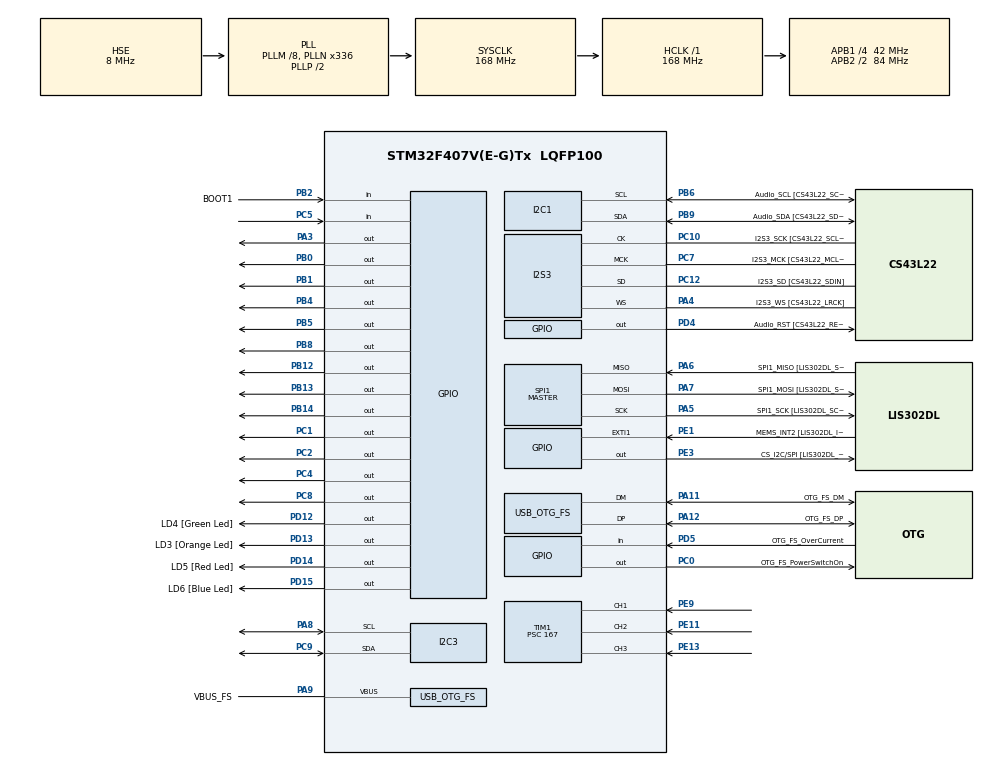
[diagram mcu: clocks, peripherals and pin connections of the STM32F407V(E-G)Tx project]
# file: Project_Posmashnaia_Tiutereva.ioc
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I2C3.OwnAddress=0x30
I2S3.AudioFreq-Half_Duplex_Master=I2S_AUDIOFREQ_96K
I2S3.ErrorAudioFreq=-2.34 %
I2S3.ErrorAudioFreq-Half_Duplex_Master=0.8 %
I2S3.FullDuplexMode=I2S_FULLDUPLEXMODE_DISABLE
I2S3.Instance=SPI$Index
I2S3.RealAudioFreq=93.75 KHz
I2S3.RealAudioFreq-Half_Duplex_Master=96.774 KHz
I2S3.VirtualMode=I2S_MODE_MASTER
Mcu.Family=STM32F4
Mcu.Name=STM32F407V(E-G)Tx
Mcu.Package=LQFP100
NVIC.I2C3_ER_IRQn=true\:0\:0\:false\:false\:true\:true\:true\:true
NVIC.I2C3_EV_IRQn=true\:0\:0\:false\:false\:true\:true\:true\:true
NVIC.OTG_FS_IRQn=true\:0\:0\:false\:false\:true\:true\:true\:true
NVIC.PriorityGroup=NVIC_PRIORITYGROUP_0
NVIC.TIM1_CC_IRQn=true\:0\:0\:false\:false\:true\:true\:true\:true
PA10.GPIO_Label=OTG_FS_ID
PA10.GPIO_Mode=GPIO_MODE_AF_PP
PA10.GPIO_PuPd=GPIO_NOPULL
PA10.GPIO_Speed=GPIO_SPEED_FREQ_LOW
PA10.Signal=USB_OTG_FS_ID
PA11.GPIO_Label=OTG_FS_DM
PA11.GPIO_Mode=GPIO_MODE_AF_PP
PA11.GPIO_PuPd=GPIO_NOPULL
PA11.GPIO_Speed=GPIO_SPEED_FREQ_LOW
PA11.Mode=Host_Only
PA11.Signal=USB_OTG_FS_DM
PA12.GPIO_Label=OTG_FS_DP
PA12.GPIO_Mode=GPIO_MODE_AF_PP
PA12.GPIO_PuPd=GPIO_NOPULL
PA12.GPIO_Speed=GPIO_SPEED_FREQ_LOW
PA12.Mode=Host_Only
PA12.Signal=USB_OTG_FS_DP
PA13.GPIO_Label=SWDIO
PA13.Mode=Serial_Wire
PA13.Signal=SYS_JTMS-SWDIO
PA14.GPIO_Label=SWCLK
PA14.Mode=Serial_Wire
PA14.Signal=SYS_JTCK-SWCLK
PA3.Signal=GPIO_Output
PA4.GPIO_Label=I2S3_WS [CS43L22_LRCK]
PA4.GPIO_Mode=GPIO_MODE_AF_PP
PA4.GPIO_PuPd=GPIO_NOPULL
PA4.GPIO_Speed=GPIO_SPEED_FREQ_LOW
PA4.Mode=Half_Duplex_Master
PA4.Signal=I2S3_WS
PA5.GPIO_Label=SPI1_SCK [LIS302DL_SCL/SPC]
PA5.GPIO_Mode=GPIO_MODE_AF_PP
PA5.GPIO_PuPd=GPIO_NOPULL
PA5.GPIO_Speed=GPIO_SPEED_FREQ_LOW
PA5.Mode=Full_Duplex_Master
PA5.Signal=SPI1_SCK
PA6.GPIO_Label=SPI1_MISO [LIS302DL_SDO]
PA6.GPIO_Mode=GPIO_MODE_AF_PP
PA6.GPIO_PuPd=GPIO_NOPULL
PA6.GPIO_Speed=GPIO_SPEED_FREQ_LOW
PA6.Mode=Full_Duplex_Master
PA6.Signal=SPI1_MISO
PA7.GPIO_Label=SPI1_MOSI [LIS302DL_SDA/SDI/SDO]
PA7.GPIO_Mode=GPIO_MODE_AF_PP
PA7.GPIO_PuPd=GPIO_NOPULL
PA7.GPIO_Speed=GPIO_SPEED_FREQ_LOW
PA7.Mode=Full_Duplex_Master
PA7.Signal=SPI1_MOSI
PA8.GPIO_Pu=GPIO_PULLUP
PA8.Mode=I2C
PA8.Signal=I2C3_SCL
PA9.GPIO_Label=VBUS_FS
PA9.GPIO_Mode=GPIO_MODE_INPUT
PA9.GPIO_PuPd=GPIO_NOPULL
PA9.Mode=Activate_VBUS
PA9.Signal=USB_OTG_FS_VBUS
PB0.Signal=GPIO_Output
PB1.Signal=GPIO_Output
PB10.GPIO_Label=CLK_IN [MP45DT02_CLK]
PB10.GPIO_Mode=GPIO_MODE_AF_PP
PB10.GPIO_PuPd=GPIO_NOPULL
PB10.GPIO_Speed=GPIO_SPEED_FREQ_LOW
PB10.Signal=I2S2_CK
PB12.Signal=GPIO_Output
PB13.Signal=GPIO_Output
PB14.Signal=GPIO_Output
PB2.GPIO_Label=BOOT1
PB2.GPIO_Mode=GPIO_MODE_INPUT
PB2.GPIO_PuPd=GPIO_NOPULL
PB2.Signal=GPIO_Input
PB3.GPIO_Label=SWO
PB3.Signal=SYS_JTDO-SWO
PB4.Signal=GPIO_Output
PB5.Signal=GPIO_Output
PB6.GPIO_Label=Audio_SCL [CS43L22_SCL]
PB6.GPIO_Mode=GPIO_MODE_AF_OD
PB6.GPIO_Pu=GPIO_PULLUP
PB6.GPIO_PuPd=GPIO_NOPULL
PB6.GPIO_Speed=GPIO_SPEED_FREQ_LOW
PB6.Mode=I2C
PB6.Signal=I2C1_SCL
PB8.Signal=GPIO_Output
PB9.GPIO_Label=Audio_SDA [CS43L22_SDA]
PB9.GPIO_Mode=GPIO_MODE_AF_OD
PB9.GPIO_Pu=GPIO_PULLUP
PB9.GPIO_PuPd=GPIO_NOPULL
PB9.GPIO_Speed=GPIO_SPEED_FREQ_LOW
PB9.Mode=I2C
PB9.Signal=I2C1_SDA
PC0.GPIO_Label=OTG_FS_PowerSwitchOn
PC0.GPIO_PuPd=GPIO_NOPULL
PC0.GPIO_Speed=GPIO_SPEED_FREQ_LOW
PC0.PinState=GPIO_PIN_SET
PC0.Signal=GPIO_Output
PC1.Signal=GPIO_Output
PC10.GPIO_Label=I2S3_SCK [CS43L22_SCLK]
PC10.GPIO_Mode=GPIO_MODE_AF_PP
PC10.GPIO_PuPd=GPIO_NOPULL
PC10.GPIO_Speed=GPIO_SPEED_FREQ_LOW
PC10.Mode=Half_Duplex_Master
PC10.Signal=I2S3_CK
PC12.GPIO_Label=I2S3_SD [CS43L22_SDIN]
PC12.GPIO_Mode=GPIO_MODE_AF_PP
PC12.GPIO_PuPd=GPIO_NOPULL
PC12.GPIO_Speed=GPIO_SPEED_FREQ_LOW
PC12.Mode=Half_Duplex_Master
PC12.Signal=I2S3_SD
PC14-OSC32_IN.GPIO_Label=PC14-OSC32_IN
PC14-OSC32_IN.Mode=LSE-External-Oscillator
PC14-OSC32_IN.Signal=RCC_OSC32_IN
PC15-OSC32_OUT.GPIO_Label=PC15-OSC32_OUT
PC15-OSC32_OUT.Mode=LSE-External-Oscillator
PC15-OSC32_OUT.Signal=RCC_OSC32_OUT
PC2.Signal=GPIO_Output
PC3.GPIO_Label=PDM_OUT [MP45DT02_DOUT]
PC3.GPIO_Mode=GPIO_MODE_AF_PP
PC3.GPIO_PuPd=GPIO_NOPULL
PC3.GPIO_Speed=GPIO_SPEED_FREQ_LOW
PC3.Signal=I2S2_SD
PC4.Signal=GPIO_Output
PC5.Signal=GPIO_Input
PC7.GPIO_Label=I2S3_MCK [CS43L22_MCLK]
PC7.GPIO_Mode=GPIO_MODE_AF_PP
PC7.GPIO_PuPd=GPIO_NOPULL
PC7.GPIO_Speed=GPIO_SPEED_FREQ_LOW
PC7.Mode=Master_Clock_Activated
PC7.Signal=I2S3_MCK
PC8.Signal=GPIO_Output
PC9.GPIO_Pu=GPIO_PULLUP
PC9.Mode=I2C
PC9.Signal=I2C3_SDA
PD12.GPIO_Label=LD4 [Green Led]
PD12.GPIO_PuPd=GPIO_NOPULL
PD12.GPIO_Speed=GPIO_SPEED_FREQ_LOW
PD12.Signal=GPIO_Output
PD13.GPIO_Label=LD3 [Orange Led]
PD13.GPIO_PuPd=GPIO_NOPULL
PD13.GPIO_Speed=GPIO_SPEED_FREQ_LOW
PD13.Signal=GPIO_Output
PD14.GPIO_Label=LD5 [Red Led]
PD14.GPIO_PuPd=GPIO_NOPULL
PD14.GPIO_Speed=GPIO_SPEED_FREQ_LOW
PD14.Signal=GPIO_Output
PD15.GPIO_Label=LD6 [Blue Led]
PD15.GPIO_PuPd=GPIO_NOPULL
PD15.GPIO_Speed=GPIO_SPEED_FREQ_LOW
PD15.Signal=GPIO_Output
PD4.GPIO_Label=Audio_RST [CS43L22_RESET]
PD4.GPIO_PuPd=GPIO_NOPULL
PD4.GPIO_Speed=GPIO_SPEED_FREQ_LOW
PD4.Signal=GPIO_Output
PD5.GPIO_Label=OTG_FS_OverCurrent
PD5.GPIO_Mode=GPIO_MODE_INPUT
PD5.GPIO_PuPd=GPIO_NOPULL
PD5.Signal=GPIO_Input
PE1.GPIO_Label=MEMS_INT2 [LIS302DL_INT2]
PE1.GPIO_ModeDefaultEXTI=GPIO_MODE_EVT_RISING
PE1.GPIO_PuPd=GPIO_NOPULL
PE1.Signal=GPXTI1
PE11.Signal=S_TIM1_CH2
PE13.Signal=S_TIM1_CH3
PE3.GPIO_Label=CS_I2C/SPI [LIS302DL_CS_I2C/SPI]
PE3.GPIO_PuPd=GPIO_NOPULL
PE3.GPIO_Speed=GPIO_SPEED_FREQ_LOW
PE3.Signal=GPIO_Output
PE9.Signal=S_TIM1_CH1
PH0-OSC_IN.GPIO_Label=PH0-OSC_IN
PH0-OSC_IN.Mode=HSE-External-Oscillator
PH0-OSC_IN.Signal=RCC_OSC_IN
PH1-OSC_OUT.GPIO_Label=PH1-OSC_OUT
PH1-OSC_OUT.Mode=HSE-External-Oscillator
PH1-OSC_OUT.Signal=RCC_OSC_OUT
ProjectManager.HeapSize=0x200
ProjectManager.StackSize=0x400
ProjectManager.TargetToolchain=STM32CubeIDE
RCC.48MHZClocksFreq_Value=48000000
RCC.AHBFreq_Value=168000000
RCC.APB1CLKDivider=RCC_HCLK_DIV4
RCC.APB1Freq_Value=42000000
RCC.APB1TimFreq_Value=84000000
RCC.APB2CLKDivider=RCC_HCLK_DIV2
RCC.APB2Freq_Value=84000000
RCC.APB2TimFreq_Value=168000000
RCC.CortexFreq_Value=168000000
RCC.HCLKFreq_Value=168000000
RCC.HSE_VALUE=8000000
RCC.HSI_VALUE=16000000
RCC.PLLM=8
RCC.PLLN=336
RCC.PLLQ=7
RCC.SYSCLKFreq_VALUE=168000000
RCC.SYSCLKSource=RCC_SYSCLKSOURCE_PLLCLK
RCC.VCOOutputFreq_Value=336000000
SH.S_TIM1_CH1.0=TIM1_CH1,Input_Capture1_from_TI1
SH.S_TIM1_CH2.0=TIM1_CH2,Input_Capture2_from_TI2
SH.S_TIM1_CH3.0=TIM1_CH3,Input_Capture3_from_TI3
SPI1.BaudRatePrescaler-Full_Duplex_Master=SPI_BAUDRATEPRESCALER_2
SPI1.CalculateBaudRate-Full_Duplex_Master=42.0 MBits/s
SPI1.Direction=SPI_DIRECTION_2LINES
SPI1.Mode=SPI_MODE_MASTER
SPI1.Mode-Full_Duplex_Master=SPI_MODE_MASTER
SPI1.VirtualType=VM_MASTER
TIM1.Channel-Input_Capture1_from_TI1=TIM_CHANNEL_1
TIM1.Channel-Input_Capture2_from_TI2=TIM_CHANNEL_2
TIM1.Channel-Input_Capture3_from_TI3=TIM_CHANNEL_3
TIM1.Prescaler=167
USB_HOST.BSP.number=1
USB_HOST.USBH_HandleTypeDef-CDC_FS=hUsbHostFS
USB_HOST.VirtualModeFS=Cdc
USB_HOST0.BSP.STBoard=false
USB_HOST0.BSP.api=Unknown
USB_HOST0.BSP.instance=PC0
USB_HOST0.BSP.ip=GPIO
USB_HOST0.BSP.mode=Output
USB_HOST0.BSP.name=Drive_VBUS_FS
USB_HOST0.BSP.solution=PC0
USB_OTG_FS.VirtualMode=Host_Only
USB_OTG_FS.phy_itface=HCD_PHY_EMBEDDED
VP_TIM2_VS_ClockSourceINT.Mode=Internal
VP_USB_HOST_VS_USB_HOST_CDC_FS.Mode=CDC_FS
board=STM32F407G-DISC1

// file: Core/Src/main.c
/* USER CODE BEGIN Header */
/**
  ******************************************************************************
  * @file           : main.c
  * @brief          : Main program body
  ******************************************************************************
  * @attention
  *
  * Copyright (c) 2025 STMicroelectronics.
  * All rights reserved.
  *
  * This software is licensed under terms that can be found in the LICENSE file
  * in the root directory of this software component.
  * If no LICENSE file comes with this software, it is provided AS-IS.
  *
  ******************************************************************************
  */
/* USER CODE END Header */
#include "main.h"
#include "usb_host.h"

I2C_HandleTypeDef hi2c1;
I2C_HandleTypeDef hi2c3;

I2S_HandleTypeDef hi2s3;

SPI_HandleTypeDef hspi1;

TIM_HandleTypeDef htim1;
TIM_HandleTypeDef htim2;

/* USER CODE BEGIN PV */
// === Піни ===
#define TRIG1_PORT GPIOA
#define TRIG1_PIN GPIO_PIN_3
#define LED1_G_PORT GPIOB
#define LED1_G_PIN GPIO_PIN_0
#define LED1_R_PORT GPIOB
#define LED1_R_PIN GPIO_PIN_12

#define TRIG2_PORT GPIOB
#define TRIG2_PIN GPIO_PIN_1
#define LED2_G_PORT GPIOB
#define LED2_G_PIN GPIO_PIN_4
#define LED2_R_PORT GPIOB
#define LED2_R_PIN GPIO_PIN_5

#define TRIG3_PORT GPIOC
#define TRIG3_PIN GPIO_PIN_8
#define LED3_G_PORT GPIOB
#define LED3_G_PIN GPIO_PIN_13
#define LED3_R_PORT GPIOB
#define LED3_R_PIN GPIO_PIN_14

volatile uint32_t IC_First[3] = {0};
volatile uint32_t IC_Second[3] = {0};
volatile uint32_t Pulse_Width[3] = {0};
volatile uint8_t Captured[3] = {0};

// Нова змінна для підтвердження, що вимірювання завершено
volatile uint8_t Measurement_Done[3] = {0};

uint8_t free_spots = 0;
/* USER CODE END PV */

void SystemClock_Config(void);
static void MX_GPIO_Init(void);
static void MX_I2C1_Init(void);
static void MX_I2S3_Init(void);
static void MX_SPI1_Init(void);
static void MX_TIM2_Init(void);
static void MX_TIM1_Init(void);
static void MX_I2C3_Init(void);
void MX_USB_HOST_Process(void);

/* USER CODE BEGIN PFP */
float Measure_Distance(uint8_t sensor);
void delay_us(uint32_t us);
/* USER CODE END PFP */

/* USER CODE BEGIN 0 */

void HAL_TIM_IC_CaptureCallback(TIM_HandleTypeDef *htim)
{

    uint8_t ch = 0;
    uint32_t channel_constant = 0; // <--- ЦЯ ЗМІННА ОБОВ'ЯЗКОВА

    // Визначаємо індекс масиву ТА константу каналу
    if(htim->Channel == HAL_TIM_ACTIVE_CHANNEL_1) {
        ch = 0;
        channel_constant = TIM_CHANNEL_1; // <--- ВАЖЛИВО
    }
    else if(htim->Channel == HAL_TIM_ACTIVE_CHANNEL_2) {
        ch = 1;
        channel_constant = TIM_CHANNEL_2; // <--- ВАЖЛИВО
    }
    else if(htim->Channel == HAL_TIM_ACTIVE_CHANNEL_3) {
        ch = 2;
        channel_constant = TIM_CHANNEL_3; // <--- ВАЖЛИВО
    }
    else return;

    if(Captured[ch] == 0) // (1) Початок імпульсу
    {
        // Використовуємо channel_constant!
        IC_First[ch] = HAL_TIM_ReadCapturedValue(htim, channel_constant);
        Captured[ch] = 1;
        // Використовуємо channel_constant!
        __HAL_TIM_SET_CAPTUREPOLARITY(htim, channel_constant, TIM_INPUTCHANNELPOLARITY_FALLING);
    }
    else // (2) Кінець імпульсу
    {
        // Використовуємо channel_constant!
        IC_Second[ch] = HAL_TIM_ReadCapturedValue(htim, channel_constant);

        if(IC_Second[ch] >= IC_First[ch])
            Pulse_Width[ch] = IC_Second[ch] - IC_First[ch];
        else
            Pulse_Width[ch] = (0xFFFF - IC_First[ch] + IC_Second[ch]);

        Captured[ch] = 0;
        Measurement_Done[ch] = 1;

        // Використовуємо channel_constant!
        __HAL_TIM_SET_CAPTUREPOLARITY(htim, channel_constant, TIM_INPUTCHANNELPOLARITY_RISING);
    }
}

float Measure_Distance(uint8_t sensor)
{
    GPIO_TypeDef* port;
    uint16_t pin;

    // Оголошення змінних (ЗБЕРІГАЄМО)
    uint32_t start_time = HAL_GetTick(); // Для таймауту в мс
    uint32_t timeout_ms = 40;            // Максимальний час очікування

    TIM_HandleTypeDef* htim = &htim1; // Посилання на ваш таймер
    uint32_t channel;

    // ... (Визначення port, pin, channel)
    if(sensor == 0)      { port = TRIG1_PORT; pin = TRIG1_PIN; channel = TIM_CHANNEL_1; }
    else if(sensor == 1) { port = TRIG2_PORT; pin = TRIG2_PIN; channel = TIM_CHANNEL_2; }
    else                 { port = TRIG3_PORT; pin = TRIG3_PIN; channel = TIM_CHANNEL_3; }

    // 0. ЗУПИНЯЄМО ТА СКИДАЄМО ПРАПОРИ ПЕРЕД ПОЧАТКОМ
    HAL_TIM_IC_Stop_IT(htim, channel); // Зупиняємо переривання на цьому каналі

    // 1. Скидаємо прапори перед ініціацією
    Measurement_Done[sensor] = 0;
    Captured[sensor] = 0;
    Pulse_Width[sensor] = 0;

    // Скидаємо полярність на RISING
    __HAL_TIM_SET_CAPTUREPOLARITY(htim, channel, TIM_INPUTCHANNELPOLARITY_RISING);

    // ОНОВЛЮЄМО ЧАС ПОЧАТКУ (ВИДАЛИТИ `uint32_t`)
    start_time = HAL_GetTick();

    // 2. Ініціація імпульсу TRIG
    HAL_GPIO_WritePin(port, pin, GPIO_PIN_SET);
    delay_us(15);
    HAL_GPIO_WritePin(port, pin, GPIO_PIN_RESET);

    // 3. ЗАПУСКАЄМО ПЕРЕРИВАННЯ, ЩОБ ВОНО СЛУХАЛО
    HAL_TIM_IC_Start_IT(htim, channel);

    // 4. Очікування завершення вимірювання ECHO в перериванні
    // ВИКОРИСТОВУЄМО ІСНУЮЧУ timeout_ms (ВИДАЛИТИ `uint32_t`)
    while (Measurement_Done[sensor] == 0 && (HAL_GetTick() - start_time) < timeout_ms)
    {
        // Чекаємо
    }

    // 5. Обов'язково зупиняємо переривання після завершення (або таймауту)
    HAL_TIM_IC_Stop_IT(htim, channel);

    // 6. Перевірка результату та таймауту
    if (Measurement_Done[sensor] == 0 || Pulse_Width[sensor] == 0)
    {
        return 400.0f;
    }

    // 7. Розрахунок відстані
    return (float)Pulse_Width[sensor] * 0.017f;
}

/* USER CODE END 0 */

int main(void)
{

  /* MCU Configuration--------------------------------------------------------*/

  /* Reset of all peripherals, Initializes the Flash interface and the Systick. */
  HAL_Init();

  /* USER CODE BEGIN Init */
  // Включаємо DWT (для точної microsecond delay)
    CoreDebug->DEMCR |= CoreDebug_DEMCR_TRCENA_Msk;
    DWT->CYCCNT = 0;
    DWT->CTRL |= DWT_CTRL_CYCCNTENA_Msk;
  /* USER CODE END Init */

  /* Configure the system clock */
  SystemClock_Config();

  /* Initialize all configured peripherals */
  MX_GPIO_Init();
  MX_I2C1_Init();
  MX_I2S3_Init();
  MX_SPI1_Init();
  MX_USB_HOST_Init();
  MX_TIM2_Init();
  MX_TIM1_Init();
  MX_I2C3_Init();
  /* USER CODE BEGIN 2 */

/*  HAL_TIM_IC_Start_IT(&htim1, TIM_CHANNEL_1);
  HAL_TIM_IC_Start_IT(&htim1, TIM_CHANNEL_2);
  HAL_TIM_IC_Start_IT(&htim1, TIM_CHANNEL_3); */

  HAL_I2C_Slave_Transmit_IT(&hi2c3, &free_spots, 1);
  /* USER CODE END 2 */

  /* Infinite loop */
  /* USER CODE BEGIN WHILE */
  while (1)
  {

	  float d1 = Measure_Distance(0);
	  float d2 = Measure_Distance(1);
	  float d3 = Measure_Distance(2);

	  if(d1 < 20) {
	  HAL_GPIO_WritePin(LED1_G_PORT, LED1_G_PIN, GPIO_PIN_RESET);
	  HAL_GPIO_WritePin(LED1_R_PORT, LED1_R_PIN, GPIO_PIN_SET);
	  } else {
	  HAL_GPIO_WritePin(LED1_G_PORT, LED1_G_PIN, GPIO_PIN_SET);
	  HAL_GPIO_WritePin(LED1_R_PORT, LED1_R_PIN, GPIO_PIN_RESET);
	  }

	  if(d2 < 20) {
	  HAL_GPIO_WritePin(LED2_G_PORT, LED2_G_PIN, GPIO_PIN_RESET);
	  HAL_GPIO_WritePin(LED2_R_PORT, LED2_R_PIN, GPIO_PIN_SET);
	  } else {
	  HAL_GPIO_WritePin(LED2_G_PORT, LED2_G_PIN, GPIO_PIN_SET);
	  HAL_GPIO_WritePin(LED2_R_PORT, LED2_R_PIN, GPIO_PIN_RESET);
	  }

	  if(d3 < 20) {
	  HAL_GPIO_WritePin(LED3_G_PORT, LED3_G_PIN, GPIO_PIN_RESET);
	  HAL_GPIO_WritePin(LED3_R_PORT, LED3_R_PIN, GPIO_PIN_SET);
	  } else {
	  HAL_GPIO_WritePin(LED3_G_PORT, LED3_G_PIN, GPIO_PIN_SET);
	  HAL_GPIO_WritePin(LED3_R_PORT, LED3_R_PIN, GPIO_PIN_RESET);
	  }

	  uint8_t count = 0;

	        // Якщо відстань >= 20, значить місце вільне (горить зелений)
	  if (d1 >= 20) count++;
	  if (d2 >= 20) count++;
	  if (d3 >= 20) count++;

	        // Оновлюємо глобальну змінну для I2C
	  free_spots = count;

	  HAL_Delay(100);

 /* while (1)
     {

	  HAL_GPIO_WritePin(GPIOC, GPIO_PIN_2, GPIO_PIN_SET); // PC0
	  HAL_GPIO_WritePin(GPIOC, GPIO_PIN_1, GPIO_PIN_SET); // PC1
	  HAL_Delay(1000);
         // 1. Перемикаємо всі світлодіоди (LED)
         // PB0, PB12 (Датчик 1) | PB4, PB5 (Датчик 2) | PB13, PB14 (Датчик 3)
         HAL_GPIO_TogglePin(GPIOB, GPIO_PIN_4|GPIO_PIN_5|GPIO_PIN_13|GPIO_PIN_14);
         HAL_GPIO_TogglePin(GPIOC, GPIO_PIN_2|GPIO_PIN_1);

         // 2. Перемикаємо всі TRIG (Запуск)
         HAL_GPIO_TogglePin(GPIOA, GPIO_PIN_3); // TRIG 1
         HAL_GPIO_TogglePin(GPIOB, GPIO_PIN_1); // TRIG 2
         HAL_GPIO_TogglePin(GPIOC, GPIO_PIN_8); // TRIG 3

         // 3. Перемикаємо всі ECHO (Тільки для тесту! Ми зробили їх виходами)
         HAL_GPIO_TogglePin(GPIOE, GPIO_PIN_9|GPIO_PIN_11|GPIO_PIN_13);

         // Затримка 1 секунда, щоб було видно оком
         HAL_Delay(1000);*/

    /* USER CODE END WHILE */
    MX_USB_HOST_Process();

  }
}

void SystemClock_Config(void)
{
  RCC_OscInitTypeDef RCC_OscInitStruct = {0};
  RCC_ClkInitTypeDef RCC_ClkInitStruct = {0};

  /** Configure the main internal regulator output voltage
  */
  __HAL_RCC_PWR_CLK_ENABLE();
  __HAL_PWR_VOLTAGESCALING_CONFIG(PWR_REGULATOR_VOLTAGE_SCALE1);

  /** Initializes the RCC Oscillators according to the specified parameters
  * in the RCC_OscInitTypeDef structure.
  */
  RCC_OscInitStruct.OscillatorType = RCC_OSCILLATORTYPE_HSE;
  RCC_OscInitStruct.HSEState = RCC_HSE_ON;
  RCC_OscInitStruct.PLL.PLLState = RCC_PLL_ON;
  RCC_OscInitStruct.PLL.PLLSource = RCC_PLLSOURCE_HSE;
  RCC_OscInitStruct.PLL.PLLM = 8;
  RCC_OscInitStruct.PLL.PLLN = 336;
  RCC_OscInitStruct.PLL.PLLP = RCC_PLLP_DIV2;
  RCC_OscInitStruct.PLL.PLLQ = 7;
  if (HAL_RCC_OscConfig(&RCC_OscInitStruct) != HAL_OK)
  {
    Error_Handler();
  }

  /** Initializes the CPU, AHB and APB buses clocks
  */
  RCC_ClkInitStruct.ClockType = RCC_CLOCKTYPE_HCLK|RCC_CLOCKTYPE_SYSCLK
                              |RCC_CLOCKTYPE_PCLK1|RCC_CLOCKTYPE_PCLK2;
  RCC_ClkInitStruct.SYSCLKSource = RCC_SYSCLKSOURCE_PLLCLK;
  RCC_ClkInitStruct.AHBCLKDivider = RCC_SYSCLK_DIV1;
  RCC_ClkInitStruct.APB1CLKDivider = RCC_HCLK_DIV4;
  RCC_ClkInitStruct.APB2CLKDivider = RCC_HCLK_DIV2;

  if (HAL_RCC_ClockConfig(&RCC_ClkInitStruct, FLASH_LATENCY_5) != HAL_OK)
  {
    Error_Handler();
  }
}

static void MX_I2C1_Init(void)
{

  hi2c1.Instance = I2C1;
  hi2c1.Init.ClockSpeed = 100000;
  hi2c1.Init.DutyCycle = I2C_DUTYCYCLE_2;
  hi2c1.Init.OwnAddress1 = 0;
  hi2c1.Init.AddressingMode = I2C_ADDRESSINGMODE_7BIT;
  hi2c1.Init.DualAddressMode = I2C_DUALADDRESS_DISABLE;
  hi2c1.Init.OwnAddress2 = 0;
  hi2c1.Init.GeneralCallMode = I2C_GENERALCALL_DISABLE;
  hi2c1.Init.NoStretchMode = I2C_NOSTRETCH_DISABLE;
  if (HAL_I2C_Init(&hi2c1) != HAL_OK)
  {
    Error_Handler();
  }

}

static void MX_I2C3_Init(void)
{

  hi2c3.Instance = I2C3;
  hi2c3.Init.ClockSpeed = 10000;
  hi2c3.Init.DutyCycle = I2C_DUTYCYCLE_2;
  hi2c3.Init.OwnAddress1 = 96;
  hi2c3.Init.AddressingMode = I2C_ADDRESSINGMODE_7BIT;
  hi2c3.Init.DualAddressMode = I2C_DUALADDRESS_DISABLE;
  hi2c3.Init.OwnAddress2 = 0;
  hi2c3.Init.GeneralCallMode = I2C_GENERALCALL_DISABLE;
  hi2c3.Init.NoStretchMode = I2C_NOSTRETCH_DISABLE;
  if (HAL_I2C_Init(&hi2c3) != HAL_OK)
  {
    Error_Handler();
  }

}

static void MX_I2S3_Init(void)
{

  hi2s3.Instance = SPI3;
  hi2s3.Init.Mode = I2S_MODE_MASTER_TX;
  hi2s3.Init.Standard = I2S_STANDARD_PHILIPS;
  hi2s3.Init.DataFormat = I2S_DATAFORMAT_16B;
  hi2s3.Init.MCLKOutput = I2S_MCLKOUTPUT_ENABLE;
  hi2s3.Init.AudioFreq = I2S_AUDIOFREQ_96K;
  hi2s3.Init.CPOL = I2S_CPOL_LOW;
  hi2s3.Init.ClockSource = I2S_CLOCK_PLL;
  hi2s3.Init.FullDuplexMode = I2S_FULLDUPLEXMODE_DISABLE;
  if (HAL_I2S_Init(&hi2s3) != HAL_OK)
  {
    Error_Handler();
  }

}

static void MX_SPI1_Init(void)
{

  /* SPI1 parameter configuration*/
  hspi1.Instance = SPI1;
  hspi1.Init.Mode = SPI_MODE_MASTER;
  hspi1.Init.Direction = SPI_DIRECTION_2LINES;
  hspi1.Init.DataSize = SPI_DATASIZE_8BIT;
  hspi1.Init.CLKPolarity = SPI_POLARITY_LOW;
  hspi1.Init.CLKPhase = SPI_PHASE_1EDGE;
  hspi1.Init.NSS = SPI_NSS_SOFT;
  hspi1.Init.BaudRatePrescaler = SPI_BAUDRATEPRESCALER_2;
  hspi1.Init.FirstBit = SPI_FIRSTBIT_MSB;
  hspi1.Init.TIMode = SPI_TIMODE_DISABLE;
  hspi1.Init.CRCCalculation = SPI_CRCCALCULATION_DISABLE;
  hspi1.Init.CRCPolynomial = 10;
  if (HAL_SPI_Init(&hspi1) != HAL_OK)
  {
    Error_Handler();
  }

}

static void MX_TIM1_Init(void)
{

  TIM_MasterConfigTypeDef sMasterConfig = {0};
  TIM_IC_InitTypeDef sConfigIC = {0};

  htim1.Instance = TIM1;
  htim1.Init.Prescaler = 167;
  htim1.Init.CounterMode = TIM_COUNTERMODE_UP;
  htim1.Init.Period = 65535;
  htim1.Init.ClockDivision = TIM_CLOCKDIVISION_DIV1;
  htim1.Init.RepetitionCounter = 0;
  htim1.Init.AutoReloadPreload = TIM_AUTORELOAD_PRELOAD_DISABLE;
  if (HAL_TIM_IC_Init(&htim1) != HAL_OK)
  {
    Error_Handler();
  }
  sMasterConfig.MasterOutputTrigger = TIM_TRGO_RESET;
  sMasterConfig.MasterSlaveMode = TIM_MASTERSLAVEMODE_DISABLE;
  if (HAL_TIMEx_MasterConfigSynchronization(&htim1, &sMasterConfig) != HAL_OK)
  {
    Error_Handler();
  }
  sConfigIC.ICPolarity = TIM_INPUTCHANNELPOLARITY_RISING;
  sConfigIC.ICSelection = TIM_ICSELECTION_DIRECTTI;
  sConfigIC.ICPrescaler = TIM_ICPSC_DIV1;
  sConfigIC.ICFilter = 0;
  if (HAL_TIM_IC_ConfigChannel(&htim1, &sConfigIC, TIM_CHANNEL_1) != HAL_OK)
  {
    Error_Handler();
  }
  if (HAL_TIM_IC_ConfigChannel(&htim1, &sConfigIC, TIM_CHANNEL_2) != HAL_OK)
  {
    Error_Handler();
  }
  if (HAL_TIM_IC_ConfigChannel(&htim1, &sConfigIC, TIM_CHANNEL_3) != HAL_OK)
  {
    Error_Handler();
  }

}

static void MX_TIM2_Init(void)
{

  TIM_ClockConfigTypeDef sClockSourceConfig = {0};
  TIM_MasterConfigTypeDef sMasterConfig = {0};

  htim2.Instance = TIM2;
  htim2.Init.Prescaler = 0;
  htim2.Init.CounterMode = TIM_COUNTERMODE_UP;
  htim2.Init.Period = 4294967295;
  htim2.Init.ClockDivision = TIM_CLOCKDIVISION_DIV1;
  htim2.Init.AutoReloadPreload = TIM_AUTORELOAD_PRELOAD_DISABLE;
  if (HAL_TIM_Base_Init(&htim2) != HAL_OK)
  {
    Error_Handler();
  }
  sClockSourceConfig.ClockSource = TIM_CLOCKSOURCE_INTERNAL;
  if (HAL_TIM_ConfigClockSource(&htim2, &sClockSourceConfig) != HAL_OK)
  {
    Error_Handler();
  }
  sMasterConfig.MasterOutputTrigger = TIM_TRGO_RESET;
  sMasterConfig.MasterSlaveMode = TIM_MASTERSLAVEMODE_DISABLE;
  if (HAL_TIMEx_MasterConfigSynchronization(&htim2, &sMasterConfig) != HAL_OK)
  {
    Error_Handler();
  }

}

static void MX_GPIO_Init(void)
{
  GPIO_InitTypeDef GPIO_InitStruct = {0};
  /* USER CODE BEGIN MX_GPIO_Init_1 */
  // Вимикаємо всі LED спочатку
  HAL_GPIO_WritePin(LED1_R_PORT, LED1_R_PIN, GPIO_PIN_RESET);
  HAL_GPIO_WritePin(LED1_G_PORT, LED1_G_PIN, GPIO_PIN_RESET);
  HAL_GPIO_WritePin(LED2_R_PORT, LED2_R_PIN, GPIO_PIN_RESET);
  HAL_GPIO_WritePin(LED2_G_PORT, LED2_G_PIN, GPIO_PIN_RESET);
  HAL_GPIO_WritePin(LED3_R_PORT, LED3_R_PIN, GPIO_PIN_RESET);
  HAL_GPIO_WritePin(LED3_G_PORT, LED3_G_PIN, GPIO_PIN_RESET);

  /* USER CODE END MX_GPIO_Init_1 */

  /* GPIO Ports Clock Enable */
  __HAL_RCC_GPIOE_CLK_ENABLE();
  __HAL_RCC_GPIOC_CLK_ENABLE();
  __HAL_RCC_GPIOH_CLK_ENABLE();
  __HAL_RCC_GPIOA_CLK_ENABLE();
  __HAL_RCC_GPIOB_CLK_ENABLE();
  __HAL_RCC_GPIOD_CLK_ENABLE();

  /*Configure GPIO pin Output Level */
  HAL_GPIO_WritePin(CS_I2C_SPI_GPIO_Port, CS_I2C_SPI_Pin, GPIO_PIN_RESET);

  /*Configure GPIO pin Output Level */
  HAL_GPIO_WritePin(OTG_FS_PowerSwitchOn_GPIO_Port, OTG_FS_PowerSwitchOn_Pin, GPIO_PIN_SET);

  /*Configure GPIO pin Output Level */
  HAL_GPIO_WritePin(GPIOC, GPIO_PIN_1|GPIO_PIN_2|GPIO_PIN_4|GPIO_PIN_8, GPIO_PIN_RESET);

  /*Configure GPIO pin Output Level */
  HAL_GPIO_WritePin(GPIOA, GPIO_PIN_3, GPIO_PIN_RESET);

  /*Configure GPIO pin Output Level */
  HAL_GPIO_WritePin(GPIOB, GPIO_PIN_0|GPIO_PIN_1|GPIO_PIN_12|GPIO_PIN_13
                          |GPIO_PIN_14|GPIO_PIN_4|GPIO_PIN_5|GPIO_PIN_8, GPIO_PIN_RESET);

  /*Configure GPIO pin Output Level */
  HAL_GPIO_WritePin(GPIOD, LD4_Pin|LD3_Pin|LD5_Pin|LD6_Pin
                          |Audio_RST_Pin, GPIO_PIN_RESET);

  /*Configure GPIO pin : CS_I2C_SPI_Pin */
  GPIO_InitStruct.Pin = CS_I2C_SPI_Pin;
  GPIO_InitStruct.Mode = GPIO_MODE_OUTPUT_PP;
  GPIO_InitStruct.Pull = GPIO_NOPULL;
  GPIO_InitStruct.Speed = GPIO_SPEED_FREQ_LOW;
  HAL_GPIO_Init(CS_I2C_SPI_GPIO_Port, &GPIO_InitStruct);

  /*Configure GPIO pins : OTG_FS_PowerSwitchOn_Pin PC1 PC2 PC4
                           PC8 */
  GPIO_InitStruct.Pin = OTG_FS_PowerSwitchOn_Pin|GPIO_PIN_1|GPIO_PIN_2|GPIO_PIN_4
                          |GPIO_PIN_8;
  GPIO_InitStruct.Mode = GPIO_MODE_OUTPUT_PP;
  GPIO_InitStruct.Pull = GPIO_NOPULL;
  GPIO_InitStruct.Speed = GPIO_SPEED_FREQ_LOW;
  HAL_GPIO_Init(GPIOC, &GPIO_InitStruct);

  /*Configure GPIO pin : PDM_OUT_Pin */
  GPIO_InitStruct.Pin = PDM_OUT_Pin;
  GPIO_InitStruct.Mode = GPIO_MODE_AF_PP;
  GPIO_InitStruct.Pull = GPIO_NOPULL;
  GPIO_InitStruct.Speed = GPIO_SPEED_FREQ_LOW;
  GPIO_InitStruct.Alternate = GPIO_AF5_SPI2;
  HAL_GPIO_Init(PDM_OUT_GPIO_Port, &GPIO_InitStruct);

  /*Configure GPIO pin : PA3 */
  GPIO_InitStruct.Pin = GPIO_PIN_3;
  GPIO_InitStruct.Mode = GPIO_MODE_OUTPUT_PP;
  GPIO_InitStruct.Pull = GPIO_NOPULL;
  GPIO_InitStruct.Speed = GPIO_SPEED_FREQ_LOW;
  HAL_GPIO_Init(GPIOA, &GPIO_InitStruct);

  /*Configure GPIO pin : PC5 */
  GPIO_InitStruct.Pin = GPIO_PIN_5;
  GPIO_InitStruct.Mode = GPIO_MODE_INPUT;
  GPIO_InitStruct.Pull = GPIO_NOPULL;
  HAL_GPIO_Init(GPIOC, &GPIO_InitStruct);

  GPIO_InitStruct.Pin = OTG_FS_PowerSwitchOn_Pin|GPIO_PIN_4|GPIO_PIN_8|GPIO_PIN_1|GPIO_PIN_2;
  GPIO_InitStruct.Mode = GPIO_MODE_OUTPUT_PP;
  GPIO_InitStruct.Pull = GPIO_NOPULL;
  GPIO_InitStruct.Speed = GPIO_SPEED_FREQ_LOW;
  HAL_GPIO_Init(GPIOC, &GPIO_InitStruct);

  /*Configure GPIO pins : PB0 PB1 PB12 PB13
                           PB14 PB4 PB5 PB8 */
  GPIO_InitStruct.Pin = GPIO_PIN_0|GPIO_PIN_1|GPIO_PIN_12|GPIO_PIN_13
                          |GPIO_PIN_14|GPIO_PIN_4|GPIO_PIN_5|GPIO_PIN_8;
  GPIO_InitStruct.Mode = GPIO_MODE_OUTPUT_PP;
  GPIO_InitStruct.Pull = GPIO_NOPULL;
  GPIO_InitStruct.Speed = GPIO_SPEED_FREQ_LOW;
  HAL_GPIO_Init(GPIOB, &GPIO_InitStruct);

  /*Configure GPIO pin : BOOT1_Pin */
  GPIO_InitStruct.Pin = BOOT1_Pin;
  GPIO_InitStruct.Mode = GPIO_MODE_INPUT;
  GPIO_InitStruct.Pull = GPIO_NOPULL;
  HAL_GPIO_Init(BOOT1_GPIO_Port, &GPIO_InitStruct);

  /*Configure GPIO pin : CLK_IN_Pin */
  GPIO_InitStruct.Pin = CLK_IN_Pin;
  GPIO_InitStruct.Mode = GPIO_MODE_AF_PP;
  GPIO_InitStruct.Pull = GPIO_NOPULL;
  GPIO_InitStruct.Speed = GPIO_SPEED_FREQ_LOW;
  GPIO_InitStruct.Alternate = GPIO_AF5_SPI2;
  HAL_GPIO_Init(CLK_IN_GPIO_Port, &GPIO_InitStruct);

  /*Configure GPIO pins : LD4_Pin LD3_Pin LD5_Pin LD6_Pin
                           Audio_RST_Pin */
  GPIO_InitStruct.Pin = LD4_Pin|LD3_Pin|LD5_Pin|LD6_Pin
                          |Audio_RST_Pin;
  GPIO_InitStruct.Mode = GPIO_MODE_OUTPUT_PP;
  GPIO_InitStruct.Pull = GPIO_NOPULL;
  GPIO_InitStruct.Speed = GPIO_SPEED_FREQ_LOW;
  HAL_GPIO_Init(GPIOD, &GPIO_InitStruct);

  /*Configure GPIO pin : OTG_FS_OverCurrent_Pin */
  GPIO_InitStruct.Pin = OTG_FS_OverCurrent_Pin;
  GPIO_InitStruct.Mode = GPIO_MODE_INPUT;
  GPIO_InitStruct.Pull = GPIO_NOPULL;
  HAL_GPIO_Init(OTG_FS_OverCurrent_GPIO_Port, &GPIO_InitStruct);

  /*Configure GPIO pin : MEMS_INT2_Pin */
  GPIO_InitStruct.Pin = MEMS_INT2_Pin;
  GPIO_InitStruct.Mode = GPIO_MODE_EVT_RISING;
  GPIO_InitStruct.Pull = GPIO_NOPULL;
  HAL_GPIO_Init(MEMS_INT2_GPIO_Port, &GPIO_InitStruct);

}

/* USER CODE BEGIN 4 */
void delay_us(uint32_t us)
{
    // Отримуємо тактову частоту ядра (на STM32F407 це 168 МГц)
    const uint32_t num_cycles = SystemCoreClock / 1000000;

    // Розраховуємо кінцеве значення лічильника
    uint32_t start_cycles = DWT->CYCCNT;
    uint32_t target_cycles = start_cycles + (us * num_cycles);

    // Чекаємо, враховуючи можливе переповнення 32-бітного лічильника
    if (target_cycles > start_cycles) {
        while (DWT->CYCCNT < target_cycles);
    } else {
        // Обробка переповнення (якщо воно відбулося)
        while (DWT->CYCCNT > start_cycles);
        while (DWT->CYCCNT < target_cycles);
    }
}

void HAL_I2C_SlaveTxCpltCallback(I2C_HandleTypeDef *hi2c)
{
    // Перевіряємо, чи подія прийшла від I2C3
    if (hi2c->Instance == I2C3)
    {
        // Перезапускаємо передачу для наступного запиту
        HAL_I2C_Slave_Transmit_IT(&hi2c3, &free_spots, 1);
    }
}

void HAL_I2C_ErrorCallback(I2C_HandleTypeDef *hi2c)
{
    // Якщо сталася помилка (шум, розрив зв'язку), ця функція спрацює.
    if (hi2c->Instance == I2C3)
    {
        // Ми просто скидаємо помилки і знову запускаємо прослуховування!
        // Це "воскрешає" Слейва після збою.
        HAL_I2C_DeInit(&hi2c3);
        HAL_I2C_Init(&hi2c3);
        HAL_I2C_Slave_Transmit_IT(&hi2c3, &free_spots, 1);
    }
}
/* USER CODE END 4 */

void Error_Handler(void)
{
  __disable_irq();
  while (1)
  {
  }
}
